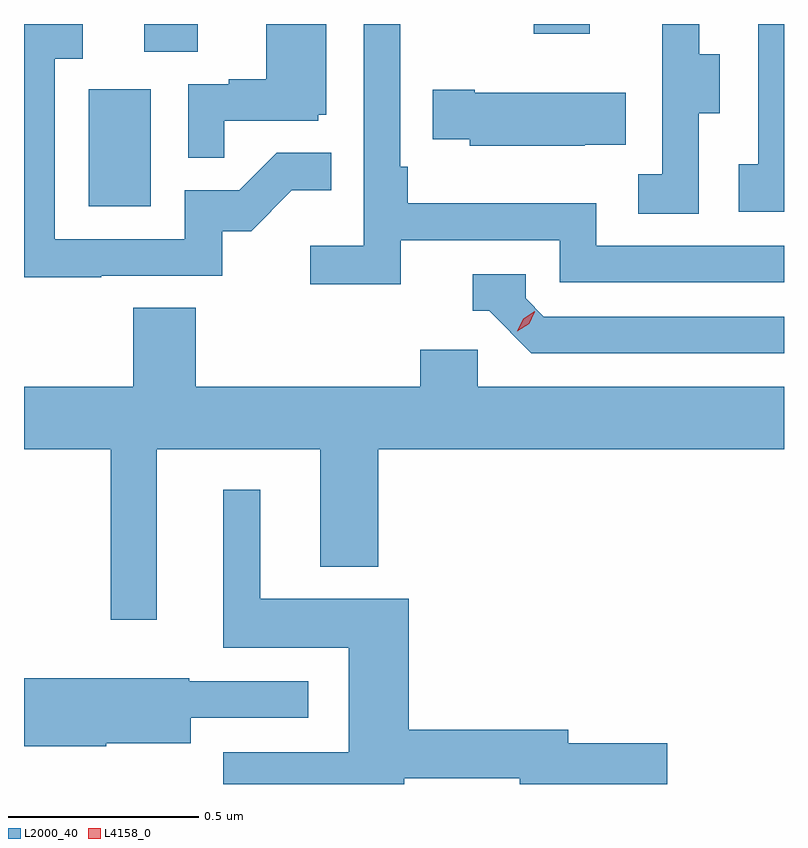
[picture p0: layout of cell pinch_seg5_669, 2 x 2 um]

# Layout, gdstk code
import gdstk
lib = gdstk.Library(unit=1e-6, precision=1e-09)
def R(c, l, rs):  # rectangles x0, y0, x1, y1
    for r in rs: c.add(gdstk.rectangle(r[:2], r[2:], *l))
def P(c, l, *ps):  # polygons
    for p in ps: c.add(gdstk.Polygon(p, *l))
L2000_40 = (2000, 40)
L4158_0 = (4158, 0)

pinch_seg5_669 = lib.new_cell('pinch_seg5_669')
R(pinch_seg5_669, L2000_40, [(1061.09,848.076,1061.254,848.383), (1061.237,848.482,1061.377,848.555), (1062.262,848.529,1062.409,848.555)])
P(pinch_seg5_669, L2000_40, [(1062.92,848.555),(1062.852,848.555),(1062.852,848.186),(1062.801,848.186),(1062.801,848.061),(1062.92,848.061)],
  [(1061.447,848.301),(1061.694,848.301),(1061.694,848.316),(1061.716,848.316),(1061.716,848.555),(1061.558,848.555),(1061.558,848.41),(1061.459,848.41),(1061.459,848.397),(1061.352,848.397),(1061.352,848.203),(1061.447,848.203)],
  [(1062.696,848.32),(1062.751,848.32),(1062.751,848.475),(1062.697,848.475),(1062.697,848.555),(1062.599,848.555),(1062.599,848.463),(1062.6,848.463),(1062.6,848.159),(1062.537,848.159),(1062.537,848.056),(1062.696,848.056)],
  [(1061.912,847.986),(1062.33,847.986),(1062.33,847.875),(1062.92,847.875),(1062.92,847.971),(1062.426,847.971),(1062.426,848.083),(1061.93,848.083),(1061.93,848.179),(1061.91,848.179),(1061.91,848.555),(1061.814,848.555),(1061.814,847.972),(1061.673,847.972),(1061.673,847.87),(1061.912,847.87)],
  [(1061.123,847.893),(1061.442,847.893),(1061.442,848.01),(1061.518,848.01),(1061.625,848.117),(1061.729,848.117),(1061.729,848.216),(1061.585,848.216),(1061.487,848.118),(1061.343,848.118),(1061.343,847.989),(1061.001,847.989),(1061.001,848.463),(1061.074,848.463),(1061.074,848.555),(1060.92,848.555),(1060.92,847.888),(1061.123,847.888)],
  [(1062.395,848.237),(1062.503,848.237),(1062.503,848.374),(1062.106,848.374),(1062.106,848.382),(1061.995,848.382),(1061.995,848.252),(1062.093,848.252),(1062.093,848.234),(1062.395,848.234)],
  [(1062.92,847.785),(1062.288,847.785),(1062.24,847.833),(1062.24,847.896),(1062.101,847.896),(1062.101,847.8),(1062.144,847.8),(1062.255,847.689),(1062.92,847.689)],
  [(1061.269,847.436),(1061.699,847.436),(1061.699,847.127),(1061.852,847.127),(1061.852,847.436),(1062.92,847.436),(1062.92,847.6),(1062.114,847.6),(1062.114,847.698),(1061.963,847.698),(1061.963,847.6),(1061.372,847.6),(1061.372,847.808),(1061.207,847.808),(1061.207,847.6),(1060.92,847.6),(1060.92,847.436),(1061.148,847.436),(1061.148,846.987),(1061.269,846.987)],
  [(1061.92,846.57),(1062.224,846.57),(1062.224,846.555),(1062.613,846.555),(1062.613,846.662),(1062.352,846.662),(1062.352,846.698),(1061.933,846.698),(1061.933,847.042),(1061.542,847.042),(1061.542,847.33),(1061.444,847.33),(1061.444,846.914),(1061.774,846.914),(1061.774,846.639),(1061.444,846.639),(1061.444,846.555),(1061.92,846.555)],
  [(1061.136,846.662),(1061.359,846.662),(1061.359,846.729),(1061.668,846.729),(1061.668,846.825),(1061.355,846.825),(1061.355,846.833),(1060.92,846.833),(1060.92,846.655),(1061.136,846.655)])
P(pinch_seg5_669, L4158_0, [(1062.218,847.746),(1062.218,847.746),(1062.234,847.779),(1062.264,847.799),(1062.264,847.799),(1062.264,847.798),(1062.249,847.766),(1062.218,847.746)])

lib.write_gds('pinch_seg5_669.gds')
